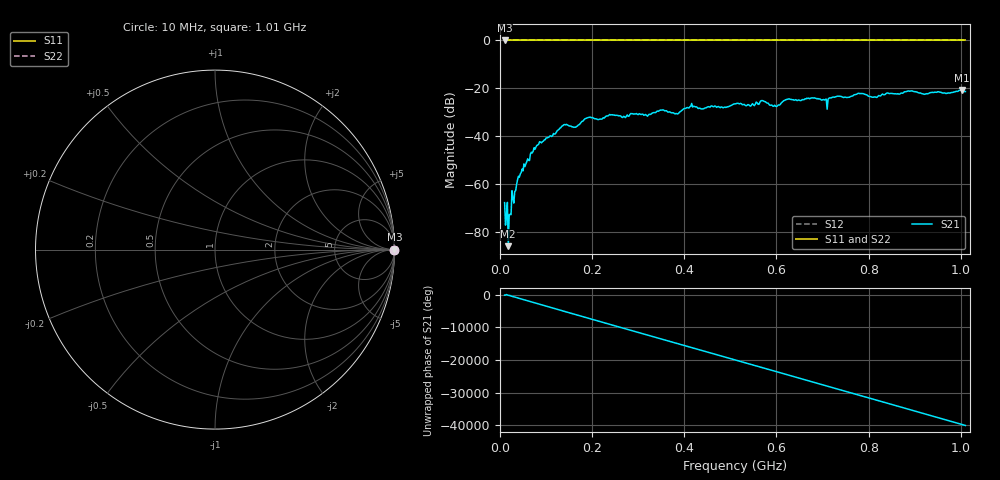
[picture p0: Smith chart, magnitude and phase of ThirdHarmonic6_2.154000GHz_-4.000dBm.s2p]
! 8/17/2025 1:42:53 AM
! C:\ANRITSUVNA\TEMP\TEMP.S2P
! CHANNEL.1
! TR.MEASUREMENT
! RAW.DATA
! RF.CORRECTION.OFF
! AVERAGING.OFF
! IF.BANDWIDTH: 5KHZ
! SWEEPTYPE:  FREQ.SWEEP(Linear)
! Reference Plane Port Info
! PORT:  PORT1  PORT2
! DISTANCE:  0  m  0  m
! TIME:  0  s  0  s
! PHASE.OFFSET:  0  deg.  0  deg.
! LOSS:  0  dB  0  dB
! REF.LOSS:  0  dB  0  dB
! REF.FREQ:  0  Hz  0  Hz
! Power Info
! POWER:  -20  dBm  -20  dBm
! EFF.POWER:  -20  dBm  -20  dBm
! SOURCE.ATTEN:  0  dB  0  dB
! TEST.ATTEN:  0  dB  0  dB
# GHZ S RI R 50.0
! FREQ.GHZ  S11RE  S11IM  S21RE  S21IM  S12RE  S12IM  S22RE  S22IM
!; PortSelection: Port_12
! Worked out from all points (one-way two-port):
!   501 points, 10 MHz to 1.01 GHz, reference 50 ohm
!   highest |S21| = -20.71 dB at 1.002 GHz (marker M1); lowest = -85.8 dB at 18 MHz (marker M2)
!   lowest |S11| = 0.0 dB at 10 MHz (marker M3)
!   |S11| at or under -10 dB: nowhere
!   |S22| runs from 0.0 to 0.0 dB; largest |S21 - S12| = 1.1
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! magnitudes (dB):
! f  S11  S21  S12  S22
! 10 MHz  0.0  -67.7  0.0  0.0
! 16 MHz  0.0  -67.6  0.0  0.0
! 18 MHz  0.0  -85.8  0.0  0.0
! 22 MHz  0.0  -72.6  0.0  0.0
! 42 MHz  0.0  -57.1  0.0  0.0
! 78 MHz  0.0  -44.5  0.0  0.0
! 138 MHz  0.0  -35.2  0.0  0.0
! 162 MHz  0.0  -36.2  0.0  0.0
! 178 MHz  0.0  -33.8  0.0  0.0
! 344 MHz  0.0  -29.5  0.0  0.0
! 384 MHz  0.0  -30.6  0.0  0.0
! 416 MHz  0.0  -26.3  0.0  0.0
! 510 MHz  0.0  -26.5  0.0  0.0
! 570 MHz  0.0  -25.1  0.0  0.0
! 598 MHz  0.0  -27.4  0.0  0.0
! 624 MHz  0.0  -24.5  0.0  0.0
! 678 MHz  0.0  -24.0  0.0  0.0
! 706 MHz  0.0  -24.6  0.0  0.0
! 778 MHz  0.0  -22.0  0.0  0.0
! 844 MHz  0.0  -22.1  0.0  0.0
! 1.002 GHz  0.0  -20.7  0.0  0.0
! 1.01 GHz  0.0  -21.3  0.0  0.0
